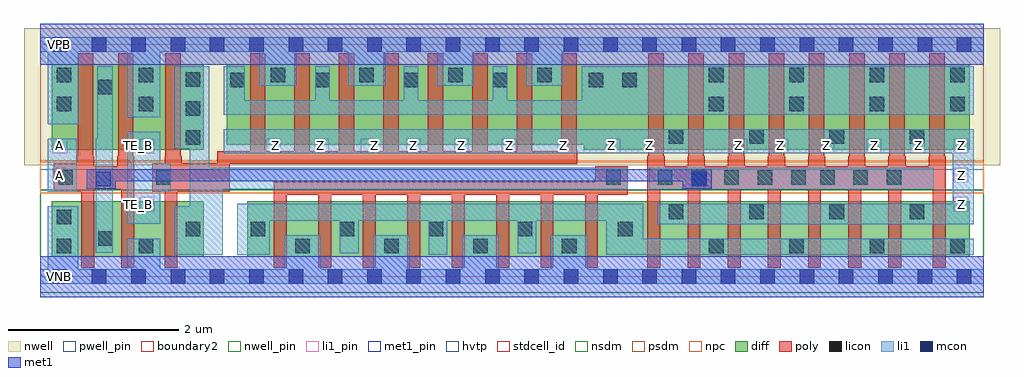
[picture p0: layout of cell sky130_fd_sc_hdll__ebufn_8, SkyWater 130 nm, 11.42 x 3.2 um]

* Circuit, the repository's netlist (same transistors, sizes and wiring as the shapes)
* Copyright 2020 The SkyWater PDK Authors
*
* Licensed under the Apache License, Version 2.0 (the "License");
* you may not use this file except in compliance with the License.
* You may obtain a copy of the License at
*
*     https://www.apache.org/licenses/LICENSE-2.0
*
* Unless required by applicable law or agreed to in writing, software
* distributed under the License is distributed on an "AS IS" BASIS,
* WITHOUT WARRANTIES OR CONDITIONS OF ANY KIND, either express or implied.
* See the License for the specific language governing permissions and
* limitations under the License.
*
* SPDX-License-Identifier: Apache-2.0

.SUBCKT sky130_fd_sc_hdll__ebufn_8 A TE_B VGND VNB VPB VPWR Z
*.PININFO A:I TE_B:I VGND:I VNB:I VPB:I VPWR:I Z:O
MMN0 Z net35 sndA VNB sky130_fd_pr__nfet_01v8 m=8 w=0.65U l=0.15U mult=1 sa=0.265
+ sb=0.265 sd=0.28 area=0.063 perim=1.14
MMN1 sndA net39 VGND VNB sky130_fd_pr__nfet_01v8 m=8 w=0.65U l=0.15U mult=1 sa=0.265
+ sb=0.265 sd=0.28 area=0.063 perim=1.14
MMIN1 net39 TE_B VGND VNB sky130_fd_pr__nfet_01v8 m=1 w=0.65U l=0.15U mult=1 sa=0.265
+ sb=0.265 sd=0.28 area=0.063 perim=1.14
MI6 net35 A VGND VNB sky130_fd_pr__nfet_01v8 m=2 w=0.65U l=0.15U mult=1 sa=0.265
+ sb=0.265 sd=0.28 area=0.063 perim=1.14
MMP0 VPWR TE_B sndTEB VPB sky130_fd_pr__pfet_01v8_hvt m=8 w=0.94U l=0.18U mult=1
+ sa=0.265 sb=0.265 sd=0.28 area=0.063 perim=1.14
MMP1 sndTEB net35 Z VPB sky130_fd_pr__pfet_01v8_hvt m=8 w=1.0U l=0.18U mult=1 sa=0.265
+ sb=0.265 sd=0.28 area=0.063 perim=1.14
MMIP1 net39 TE_B VPWR VPB sky130_fd_pr__pfet_01v8_hvt m=1 w=1.0U l=0.18U mult=1
+ sa=0.265 sb=0.265 sd=0.28 area=0.063 perim=1.14
MI5 net35 A VPWR VPB sky130_fd_pr__pfet_01v8_hvt m=2 w=1.0U l=0.18U mult=1 sa=0.265
+ sb=0.265 sd=0.28 area=0.063 perim=1.14
.ENDS sky130_fd_sc_hdll__ebufn_8

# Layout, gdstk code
import gdstk
lib = gdstk.Library(unit=1e-6, precision=1e-09)
def R(c, l, rs):  # rectangles x0, y0, x1, y1
    for r in rs: c.add(gdstk.rectangle(r[:2], r[2:], *l))
def A(c, l, x, y, w, h, nx, ny, dx, dy):  # array of equal rectangles
    R(c, l, [(x+i*dx, y+j*dy, x+i*dx+w, y+j*dy+h) for i in range(nx) for j in range(ny)])
def P(c, l, *ps):  # polygons
    for p in ps: c.add(gdstk.Polygon(p, *l))
nwell_pin = (64, 16)
nwell = (64, 20)
diff = (65, 20)
poly = (66, 20)
licon = (66, 44)
li1_pin = (67, 16)
li1 = (67, 20)
mcon = (67, 44)
met1_pin = (68, 16)
met1 = (68, 20)
hvtp = (78, 44)
stdcell_id = (81, 4)
nsdm = (93, 44)
psdm = (94, 20)
npc = (95, 20)
pwell_pin = (122, 16)
boundary2 = (236, 0)

sky130_fd_sc_hdll__ebufn = lib.new_cell('sky130_fd_sc_hdll__ebufn_8')
R(sky130_fd_sc_hdll__ebufn, nwell_pin, [(0.145,2.635,0.315,2.805)])
R(sky130_fd_sc_hdll__ebufn, nwell, [(-0.19,1.305,11.23,2.91)])
R(sky130_fd_sc_hdll__ebufn, diff, [(0.135,0.235,1.915,0.885), (2.425,0.235,10.875,0.885), (0.135,1.485,1.915,2.485)])
P(sky130_fd_sc_hdll__ebufn, diff, [(10.875,2.485),(2.185,2.485),(2.185,1.545),(6.36,1.545),(6.36,1.485),(10.875,1.485)])
P(sky130_fd_sc_hdll__ebufn, poly, [(1.1,1.41),(1.09,1.41),(1.09,2.615),(0.91,2.615),(0.91,1.41),(0.9,1.41),(0.9,1.295),(0.63,1.295),(0.63,1.41),(0.62,1.41),(0.62,2.615),(0.44,2.615),(0.44,1.41),(0.43,1.41),(0.43,1.325),(0.16,1.325),(0.16,0.995),(0.48,0.995),(0.48,0.105),(0.63,0.105),(0.63,1.025),(0.95,1.025),(0.95,0.105),(1.1,0.105)],
  [(6.285,1.47),(6.275,1.47),(6.275,2.615),(6.095,2.615),(6.095,1.47),(5.755,1.47),(5.755,2.615),(5.575,2.615),(5.575,1.47),(5.235,1.47),(5.235,2.615),(5.055,2.615),(5.055,1.47),(4.715,1.47),(4.715,2.615),(4.535,2.615),(4.535,1.47),(4.195,1.47),(4.195,2.615),(4.015,2.615),(4.015,1.47),(3.675,1.47),(3.675,2.615),(3.495,2.615),(3.495,1.47),(3.155,1.47),(3.155,2.615),(2.975,2.615),(2.975,1.47),(2.635,1.47),(2.635,2.615),(2.455,2.615),(2.455,1.47),(2.07,1.47),(2.07,1.325),(1.655,1.325),(1.655,1.41),(1.645,1.41),(1.645,2.615),(1.465,2.615),(1.465,1.41),(1.455,1.41),(1.455,1.325),(1.31,1.325),(1.31,0.995),(1.455,0.995),(1.455,0.105),(1.605,0.105),(1.605,0.995),(2.22,0.995),(2.22,1.32),(6.285,1.32)],
  [(6.875,1.295),(6.495,1.295),(6.495,1.11),(2.735,1.11),(2.735,0.105),(2.885,0.105),(2.885,0.96),(3.255,0.96),(3.255,0.105),(3.405,0.105),(3.405,0.96),(3.775,0.96),(3.775,0.105),(3.925,0.105),(3.925,0.96),(4.295,0.96),(4.295,0.105),(4.445,0.105),(4.445,0.96),(4.815,0.96),(4.815,0.105),(4.965,0.105),(4.965,0.96),(5.335,0.96),(5.335,0.105),(5.485,0.105),(5.485,0.96),(5.855,0.96),(5.855,0.105),(6.005,0.105),(6.005,0.96),(6.375,0.96),(6.375,0.105),(6.525,0.105),(6.525,0.96),(6.875,0.96)],
  [(10.595,1.41),(10.585,1.41),(10.585,2.615),(10.405,2.615),(10.405,1.41),(10.395,1.41),(10.395,1.295),(10.125,1.295),(10.125,1.41),(10.115,1.41),(10.115,2.615),(9.935,2.615),(9.935,1.41),(9.925,1.41),(9.925,1.295),(9.655,1.295),(9.655,1.41),(9.645,1.41),(9.645,2.615),(9.465,2.615),(9.465,1.41),(9.455,1.41),(9.455,1.295),(9.185,1.295),(9.185,1.41),(9.175,1.41),(9.175,2.615),(8.995,2.615),(8.995,1.41),(8.985,1.41),(8.985,1.295),(8.715,1.295),(8.715,1.41),(8.705,1.41),(8.705,2.615),(8.525,2.615),(8.525,1.41),(8.515,1.41),(8.515,1.295),(8.245,1.295),(8.245,1.41),(8.235,1.41),(8.235,2.615),(8.055,2.615),(8.055,1.41),(8.045,1.41),(8.045,1.295),(7.775,1.295),(7.775,1.41),(7.765,1.41),(7.765,2.615),(7.585,2.615),(7.585,1.41),(7.575,1.41),(7.575,1.295),(7.305,1.295),(7.305,1.41),(7.295,1.41),(7.295,2.615),(7.115,2.615),(7.115,1.41),(7.105,1.41),(7.105,0.105),(7.255,0.105),(7.255,1.025),(7.575,1.025),(7.575,0.105),(7.725,0.105),(7.725,1.025),(8.045,1.025),(8.045,0.105),(8.195,0.105),(8.195,1.025),(8.515,1.025),(8.515,0.105),(8.665,0.105),(8.665,1.025),(8.985,1.025),(8.985,0.105),(9.135,0.105),(9.135,1.025),(9.455,1.025),(9.455,0.105),(9.605,0.105),(9.605,1.025),(9.925,1.025),(9.925,0.105),(10.075,0.105),(10.075,1.025),(10.445,1.025),(10.445,0.105),(10.595,0.105)])
A(sky130_fd_sc_hdll__ebufn, licon, 2.985, 0.275, 0.17, 0.17, 4, 1, 1.04, 0)
A(sky130_fd_sc_hdll__ebufn, licon, 7.825, 0.275, 0.17, 0.17, 4, 2, 0.94, 1.66)
A(sky130_fd_sc_hdll__ebufn, licon, 2.465, 0.475, 0.17, 0.17, 4, 1, 1.04, 0)
A(sky130_fd_sc_hdll__ebufn, licon, 7.355, 0.675, 0.17, 0.17, 4, 2, 0.94, 0.88)
A(sky130_fd_sc_hdll__ebufn, licon, 7.225, 1.075, 0.17, 0.17, 5, 1, 0.39, 0)
A(sky130_fd_sc_hdll__ebufn, licon, 9.125, 1.075, 0.17, 0.17, 3, 1, 0.39, 0)
A(sky130_fd_sc_hdll__ebufn, licon, 1.705, 1.545, 0.17, 0.17, 1, 3, 0, 0.34)
A(sky130_fd_sc_hdll__ebufn, licon, 3.215, 2.215, 0.17, 0.17, 3, 1, 1.04, 0)
A(sky130_fd_sc_hdll__ebufn, licon, 2.695, 2.275, 0.17, 0.17, 4, 1, 1.04, 0)
A(sky130_fd_sc_hdll__ebufn, licon, 7.825, 2.275, 0.17, 0.17, 4, 1, 0.94, 0)
R(sky130_fd_sc_hdll__ebufn, licon, [(0.195,0.275,0.365,0.445), (1.15,0.275,1.32,0.445), (0.68,0.36,0.85,0.53), (1.705,0.475,1.875,0.645), (6.76,0.475,6.93,0.645), (0.195,0.615,0.365,0.785), (0.21,1.075,0.38,1.245), (1.36,1.075,1.53,1.245), (6.625,1.075,6.795,1.245), (0.195,1.935,0.365,2.105), (1.15,1.935,1.32,2.105), (0.68,2.135,0.85,2.305), (2.225,2.215,2.395,2.385), (6.42,2.215,6.59,2.385), (6.81,2.215,6.98,2.385), (0.195,2.275,0.365,2.445), (1.15,2.275,1.32,2.445)])
A(sky130_fd_sc_hdll__ebufn, li1_pin, 9.67, 1.445, 0.17, 0.17, 3, 1, 0.51, 0)
R(sky130_fd_sc_hdll__ebufn, li1_pin, [(1.165,0.765,1.335,0.935), (10.69,0.765,10.86,0.935), (0.145,1.105,0.315,1.275), (10.69,1.105,10.86,1.275), (0.145,1.445,0.315,1.615), (1.165,1.445,1.335,1.615), (2.645,1.445,2.815,1.615), (3.205,1.445,3.375,1.615), (3.75,1.445,3.92,1.615), (4.285,1.445,4.455,1.615), (4.845,1.445,5.015,1.615), (5.4,1.445,5.57,1.615), (6.055,1.445,6.225,1.615), (6.615,1.445,6.785,1.615), (7.07,1.445,7.24,1.615), (8.1,1.445,8.27,1.615), (8.585,1.445,8.755,1.615), (9.12,1.445,9.29,1.615)])
R(sky130_fd_sc_hdll__ebufn, li1, [(0.085,0.995,0.43,1.615), (7.125,1.025,10.455,1.275)])
P(sky130_fd_sc_hdll__ebufn, li1, [(11.04,0.085),(6.405,0.085),(6.405,0.485),(5.975,0.485),(5.975,0.085),(5.365,0.085),(5.365,0.485),(4.935,0.485),(4.935,0.085),(4.325,0.085),(4.325,0.485),(3.895,0.485),(3.895,0.085),(3.285,0.085),(3.285,0.485),(2.855,0.485),(2.855,0.085),(1.405,0.085),(1.405,0.445),(1.02,0.445),(1.02,0.085),(0.445,0.085),(0.445,0.825),(0.085,0.825),(0.085,0.085),(0,0.085),(0,-0.085),(11.04,-0.085)],
  [(11.04,2.805),(0,2.805),(0,2.635),(0.085,2.635),(0.085,1.785),(0.445,1.785),(0.445,2.635),(1.02,2.635),(1.02,1.865),(1.405,1.865),(1.405,2.635),(2.565,2.635),(2.565,2.235),(2.995,2.235),(2.995,2.635),(3.605,2.635),(3.605,2.235),(4.035,2.235),(4.035,2.635),(4.645,2.635),(4.645,2.235),(5.075,2.235),(5.075,2.635),(5.685,2.635),(5.685,2.235),(6.115,2.235),(6.115,2.635),(11.04,2.635)],
  [(10.925,0.445),(7.055,0.445),(7.055,0.855),(2.305,0.855),(2.305,0.255),(2.685,0.255),(2.685,0.655),(3.505,0.655),(3.505,0.275),(3.725,0.275),(3.725,0.655),(4.545,0.655),(4.545,0.255),(4.765,0.255),(4.765,0.655),(5.585,0.655),(5.585,0.275),(5.805,0.275),(5.805,0.655),(6.625,0.655),(6.625,0.255),(10.925,0.255)],
  [(10.925,1.725),(2.145,1.725),(2.145,1.445),(10.675,1.445),(10.675,0.855),(7.225,0.855),(7.225,0.615),(10.925,0.615)],
  [(10.925,2.465),(6.335,2.465),(6.335,2.065),(5.465,2.065),(5.465,2.465),(5.295,2.465),(5.295,2.065),(4.425,2.065),(4.425,2.465),(4.255,2.465),(4.255,2.065),(3.385,2.065),(3.385,2.465),(3.215,2.465),(3.215,2.065),(2.395,2.065),(2.395,2.465),(2.145,2.465),(2.145,1.895),(10.925,1.895)],
  [(6.875,1.275),(1.975,1.275),(1.975,2.465),(1.575,2.465),(1.575,1.495),(1.75,1.495),(1.75,0.825),(1.575,0.825),(1.575,0.255),(2.135,0.255),(2.135,1.025),(6.875,1.025)],
  [(1.53,1.325),(1.405,1.325),(1.405,1.695),(1.02,1.695),(1.02,0.62),(1.405,0.62),(1.405,0.995),(1.53,0.995)],
  [(0.85,2.465),(0.665,2.465),(0.665,1.615),(0.65,1.615),(0.65,0.28),(0.85,0.28)])
A(sky130_fd_sc_hdll__ebufn, mcon, 0.145, -0.085, 0.17, 0.17, 24, 2, 0.46, 2.72)
R(sky130_fd_sc_hdll__ebufn, mcon, [(0.655,1.06,0.825,1.23), (7.63,1.06,7.8,1.23)])
R(sky130_fd_sc_hdll__ebufn, met1_pin, [(0.145,-0.085,0.315,0.085), (0.145,2.635,0.315,2.805)])
R(sky130_fd_sc_hdll__ebufn, met1, [(0,-0.24,11.04,0.24), (0,2.48,11.04,2.96)])
P(sky130_fd_sc_hdll__ebufn, met1, [(7.86,1.26),(0.545,1.26),(0.545,1.03),(0.885,1.03),(0.885,1.12),(7.52,1.12),(7.52,1.03),(7.86,1.03)])
R(sky130_fd_sc_hdll__ebufn, hvtp, [(0,1.25,11.04,2.72)])
R(sky130_fd_sc_hdll__ebufn, stdcell_id, [(0,0,11.04,2.72)])
R(sky130_fd_sc_hdll__ebufn, nsdm, [(0,-0.19,11.04,1.015)])
R(sky130_fd_sc_hdll__ebufn, psdm, [(0,1.355,11.04,2.91)])
R(sky130_fd_sc_hdll__ebufn, npc, [(0,0.975,11.04,1.345)])
R(sky130_fd_sc_hdll__ebufn, pwell_pin, [(0.145,-0.085,0.315,0.085)])
R(sky130_fd_sc_hdll__ebufn, boundary2, [(0,0,11.04,2.72)])
sky130_fd_sc_hdll__ebufn.add(gdstk.Label('A', (0.23,1.19), layer=67, texttype=5))
sky130_fd_sc_hdll__ebufn.add(gdstk.Label('A', (0.23,1.53), layer=67, texttype=5))
sky130_fd_sc_hdll__ebufn.add(gdstk.Label('Z', (10.785,0.85), layer=67, texttype=5))
sky130_fd_sc_hdll__ebufn.add(gdstk.Label('Z', (10.785,1.19), layer=67, texttype=5))
sky130_fd_sc_hdll__ebufn.add(gdstk.Label('Z', (4.37,1.53), layer=67, texttype=5))
sky130_fd_sc_hdll__ebufn.add(gdstk.Label('Z', (4.93,1.53), layer=67, texttype=5))
sky130_fd_sc_hdll__ebufn.add(gdstk.Label('Z', (5.49,1.53), layer=67, texttype=5))
sky130_fd_sc_hdll__ebufn.add(gdstk.Label('Z', (6.125,1.53), layer=67, texttype=5))
sky130_fd_sc_hdll__ebufn.add(gdstk.Label('Z', (2.755,1.53), layer=67, texttype=5))
sky130_fd_sc_hdll__ebufn.add(gdstk.Label('Z', (3.285,1.53), layer=67, texttype=5))
sky130_fd_sc_hdll__ebufn.add(gdstk.Label('Z', (3.91,1.53), layer=67, texttype=5))
sky130_fd_sc_hdll__ebufn.add(gdstk.Label('TE_B', (1.15,0.85), layer=67, texttype=5))
sky130_fd_sc_hdll__ebufn.add(gdstk.Label('Z', (6.68,1.53), layer=67, texttype=5))
sky130_fd_sc_hdll__ebufn.add(gdstk.Label('Z', (7.125,1.53), layer=67, texttype=5))
sky130_fd_sc_hdll__ebufn.add(gdstk.Label('TE_B', (1.15,1.53), layer=67, texttype=5))
sky130_fd_sc_hdll__ebufn.add(gdstk.Label('Z', (10.785,1.53), layer=67, texttype=5))
sky130_fd_sc_hdll__ebufn.add(gdstk.Label('Z', (10.275,1.53), layer=67, texttype=5))
sky130_fd_sc_hdll__ebufn.add(gdstk.Label('Z', (8.175,1.53), layer=67, texttype=5))
sky130_fd_sc_hdll__ebufn.add(gdstk.Label('Z', (9.76,1.53), layer=67, texttype=5))
sky130_fd_sc_hdll__ebufn.add(gdstk.Label('Z', (9.2,1.53), layer=67, texttype=5))
sky130_fd_sc_hdll__ebufn.add(gdstk.Label('Z', (8.665,1.53), layer=67, texttype=5))
sky130_fd_sc_hdll__ebufn.add(gdstk.Label('VNB', (0.23,0), layer=64, texttype=59))
sky130_fd_sc_hdll__ebufn.add(gdstk.Label('VPB', (0.23,2.72), layer=64, texttype=5))
sky130_fd_sc_hdll__ebufn.add(gdstk.Label('VGND', (0.23,0), layer=68, texttype=5))
sky130_fd_sc_hdll__ebufn.add(gdstk.Label('VPWR', (0.23,2.72), layer=68, texttype=5))
sky130_fd_sc_hdll__ebufn.add(gdstk.Label('ebufn_8', (0,0), layer=83, texttype=44))

lib.write_gds('sky130_fd_sc_hdll__ebufn_8.gds')
